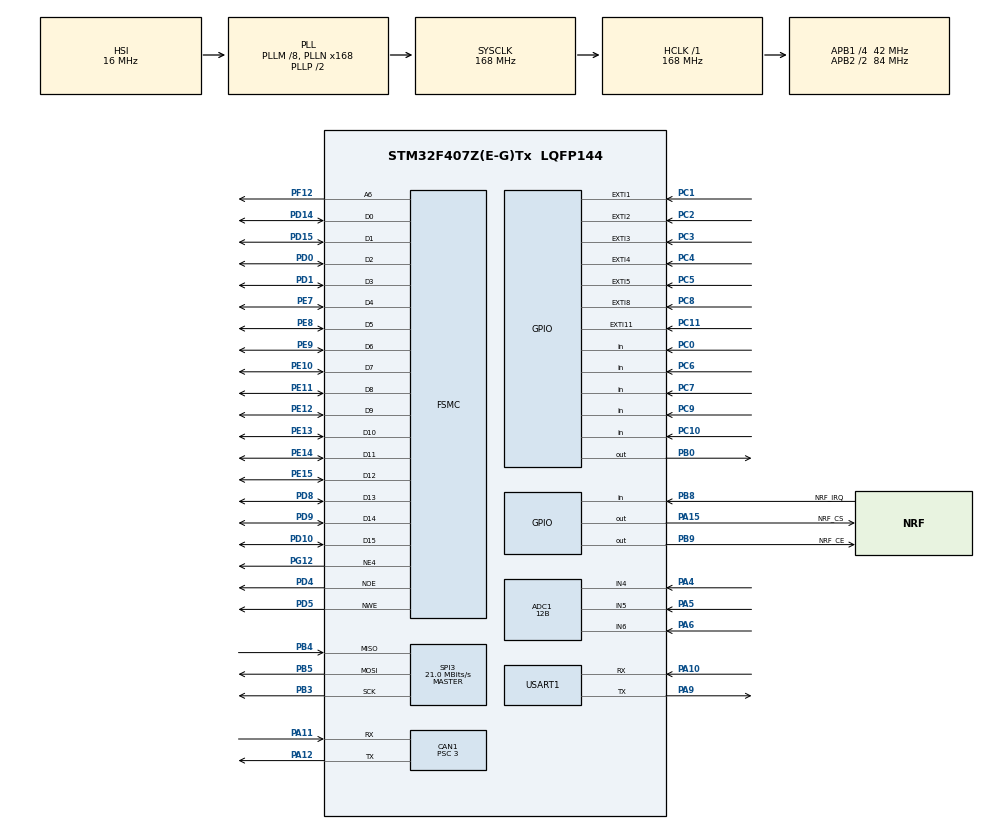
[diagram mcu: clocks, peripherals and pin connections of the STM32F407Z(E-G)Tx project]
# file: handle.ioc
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ADC1.Channel-4\#ChannelRegularConversion=ADC_CHANNEL_5
ADC1.Channel-5\#ChannelRegularConversion=ADC_CHANNEL_6
ADC1.Channel-6\#ChannelRegularConversion=ADC_CHANNEL_4
ADC1.ClockPrescaler=ADC_CLOCK_SYNC_PCLK_DIV4
ADC1.ContinuousConvMode=ENABLE
ADC1.DMAContinuousRequests=ENABLE
ADC1.DataAlign=ADC_DATAALIGN_RIGHT
ADC1.DiscontinuousConvMode=DISABLE
ADC1.EOCSelection=ADC_EOC_SINGLE_CONV
ADC1.EnableAnalogWatchDog=false
ADC1.ExternalTrigConv=ADC_SOFTWARE_START
ADC1.ExternalTrigConvEdge=ADC_EXTERNALTRIGCONVEDGE_NONE
ADC1.InjNumberOfConversion=0
ADC1.NbrOfConversion=3
ADC1.NbrOfConversionFlag=1
ADC1.Rank-4\#ChannelRegularConversion=1
ADC1.Rank-5\#ChannelRegularConversion=2
ADC1.Rank-6\#ChannelRegularConversion=3
ADC1.Resolution=ADC_RESOLUTION_12B
ADC1.SamplingTime-4\#ChannelRegularConversion=ADC_SAMPLETIME_3CYCLES
ADC1.SamplingTime-5\#ChannelRegularConversion=ADC_SAMPLETIME_3CYCLES
ADC1.SamplingTime-6\#ChannelRegularConversion=ADC_SAMPLETIME_3CYCLES
ADC1.ScanConvMode=ENABLE
ADC1.master=1
CAN1.ABOM=DISABLE
CAN1.AWUM=DISABLE
CAN1.BS1=CAN_BS1_9TQ
CAN1.BS2=CAN_BS2_4TQ
CAN1.CalculateTimeQuantum=71.42857142857143
CAN1.Mode=CAN_MODE_NORMAL
CAN1.NART=DISABLE
CAN1.Prescaler=3
CAN1.RFLM=DISABLE
CAN1.TTCM=DISABLE
CAN1.TXFP=DISABLE
Dma.ADC1.0.Direction=DMA_PERIPH_TO_MEMORY
Dma.ADC1.0.FIFOMode=DMA_FIFOMODE_DISABLE
Dma.ADC1.0.Instance=DMA2_Stream0
Dma.ADC1.0.MemDataAlignment=DMA_MDATAALIGN_WORD
Dma.ADC1.0.MemInc=DMA_MINC_ENABLE
Dma.ADC1.0.Mode=DMA_CIRCULAR
Dma.ADC1.0.PeriphDataAlignment=DMA_PDATAALIGN_WORD
Dma.ADC1.0.PeriphInc=DMA_PINC_DISABLE
Dma.ADC1.0.Priority=DMA_PRIORITY_HIGH
Dma.Request0=ADC1
Dma.Request1=USART1_RX
Dma.Request2=USART1_TX
Dma.USART1_RX.1.Direction=DMA_PERIPH_TO_MEMORY
Dma.USART1_RX.1.FIFOMode=DMA_FIFOMODE_DISABLE
Dma.USART1_RX.1.Instance=DMA2_Stream2
Dma.USART1_RX.1.MemDataAlignment=DMA_MDATAALIGN_BYTE
Dma.USART1_RX.1.MemInc=DMA_MINC_ENABLE
Dma.USART1_RX.1.Mode=DMA_NORMAL
Dma.USART1_RX.1.PeriphDataAlignment=DMA_PDATAALIGN_BYTE
Dma.USART1_RX.1.PeriphInc=DMA_PINC_DISABLE
Dma.USART1_RX.1.Priority=DMA_PRIORITY_LOW
Dma.USART1_TX.2.Direction=DMA_MEMORY_TO_PERIPH
Dma.USART1_TX.2.FIFOMode=DMA_FIFOMODE_DISABLE
Dma.USART1_TX.2.Instance=DMA2_Stream7
Dma.USART1_TX.2.MemDataAlignment=DMA_MDATAALIGN_BYTE
Dma.USART1_TX.2.MemInc=DMA_MINC_ENABLE
Dma.USART1_TX.2.Mode=DMA_NORMAL
Dma.USART1_TX.2.PeriphDataAlignment=DMA_PDATAALIGN_BYTE
Dma.USART1_TX.2.PeriphInc=DMA_PINC_DISABLE
Dma.USART1_TX.2.Priority=DMA_PRIORITY_LOW
Mcu.Family=STM32F4
Mcu.Name=STM32F407Z(E-G)Tx
Mcu.Package=LQFP144
NVIC.ADC_IRQn=true\:0\:0\:false\:false\:true\:true\:true
NVIC.CAN1_RX0_IRQn=true\:0\:0\:false\:false\:true\:true\:true
NVIC.CAN1_RX1_IRQn=true\:0\:0\:false\:false\:true\:true\:true
NVIC.CAN1_SCE_IRQn=true\:0\:0\:false\:false\:true\:true\:true
NVIC.DMA2_Stream0_IRQn=true\:0\:0\:false\:false\:true\:false\:true
NVIC.DMA2_Stream2_IRQn=true\:0\:0\:false\:false\:true\:false\:true
NVIC.DMA2_Stream7_IRQn=true\:0\:0\:false\:false\:true\:false\:true
NVIC.EXTI15_10_IRQn=true\:0\:0\:false\:false\:true\:true\:true
NVIC.EXTI1_IRQn=true\:0\:0\:false\:false\:true\:true\:true
NVIC.EXTI2_IRQn=true\:0\:0\:false\:false\:true\:true\:true
NVIC.EXTI3_IRQn=true\:0\:0\:false\:false\:true\:true\:true
NVIC.EXTI4_IRQn=true\:0\:0\:false\:false\:true\:true\:true
NVIC.EXTI9_5_IRQn=true\:0\:0\:false\:false\:true\:true\:true
NVIC.PriorityGroup=NVIC_PRIORITYGROUP_4
NVIC.USART1_IRQn=true\:0\:0\:false\:false\:true\:true\:true
PA10.Mode=Asynchronous
PA10.Signal=USART1_RX
PA11.Mode=Master
PA11.Signal=CAN1_RX
PA12.Mode=Master
PA12.Signal=CAN1_TX
PA13.Mode=Serial_Wire
PA13.Signal=SYS_JTMS-SWDIO
PA14.Mode=Serial_Wire
PA14.Signal=SYS_JTCK-SWCLK
PA15.GPIO_Label=NRF_CS
PA15.Signal=GPIO_Output
PA4.Signal=ADCx_IN4
PA5.Signal=ADCx_IN5
PA6.Signal=ADCx_IN6
PA9.Mode=Asynchronous
PA9.Signal=USART1_TX
PB0.Signal=GPIO_Output
PB3.Mode=Full_Duplex_Master
PB3.Signal=SPI3_SCK
PB4.Mode=Full_Duplex_Master
PB4.Signal=SPI3_MISO
PB5.Mode=Full_Duplex_Master
PB5.Signal=SPI3_MOSI
PB8.GPIO_Label=NRF_IRQ
PB8.Signal=GPIO_Input
PB9.GPIO_Label=NRF_CE
PB9.Signal=GPIO_Output
PC0.Signal=GPIO_Input
PC1.GPIO_ModeDefaultEXTI=GPIO_MODE_IT_FALLING
PC1.Signal=GPXTI1
PC10.Signal=GPIO_Input
PC11.GPIO_ModeDefaultEXTI=GPIO_MODE_IT_RISING_FALLING
PC11.Signal=GPXTI11
PC2.GPIO_ModeDefaultEXTI=GPIO_MODE_IT_FALLING
PC2.Signal=GPXTI2
PC3.GPIO_ModeDefaultEXTI=GPIO_MODE_IT_FALLING
PC3.Signal=GPXTI3
PC4.GPIO_ModeDefaultEXTI=GPIO_MODE_IT_FALLING
PC4.Signal=GPXTI4
PC5.GPIO_ModeDefaultEXTI=GPIO_MODE_IT_FALLING
PC5.Signal=GPXTI5
PC6.Signal=GPIO_Input
PC7.Signal=GPIO_Input
PC8.GPIO_ModeDefaultEXTI=GPIO_MODE_IT_FALLING
PC8.Signal=GPXTI8
PC9.Signal=GPIO_Input
PD0.Signal=FSMC_D2_DA2
PD1.Signal=FSMC_D3_DA3
PD10.Signal=FSMC_D15_DA15
PD14.Signal=FSMC_D0_DA0
PD15.Signal=FSMC_D1_DA1
PD4.Signal=FSMC_NOE
PD5.Signal=FSMC_NWE
PD8.Signal=FSMC_D13_DA13
PD9.Signal=FSMC_D14_DA14
PE10.Signal=FSMC_D7_DA7
PE11.Signal=FSMC_D8_DA8
PE12.Signal=FSMC_D9_DA9
PE13.Signal=FSMC_D10_DA10
PE14.Signal=FSMC_D11_DA11
PE15.Signal=FSMC_D12_DA12
PE7.Signal=FSMC_D4_DA4
PE8.Signal=FSMC_D5_DA5
PE9.Signal=FSMC_D6_DA6
PF12.Signal=FSMC_A6
PG12.Mode=NorPsramChipSelect4_1
PG12.Signal=FSMC_NE4
PH0-OSC_IN.Mode=HSE-External-Oscillator
PH0-OSC_IN.Signal=RCC_OSC_IN
PH1-OSC_OUT.Mode=HSE-External-Oscillator
PH1-OSC_OUT.Signal=RCC_OSC_OUT
ProjectManager.HeapSize=0x200
ProjectManager.StackSize=0x400
ProjectManager.TargetToolchain=EWARM V8
RCC.48MHZClocksFreq_Value=84000000
RCC.AHBFreq_Value=168000000
RCC.APB1CLKDivider=RCC_HCLK_DIV4
RCC.APB1Freq_Value=42000000
RCC.APB1TimFreq_Value=84000000
RCC.APB2CLKDivider=RCC_HCLK_DIV2
RCC.APB2Freq_Value=84000000
RCC.APB2TimFreq_Value=168000000
RCC.CortexFreq_Value=168000000
RCC.HCLKFreq_Value=168000000
RCC.HSE_VALUE=8000000
RCC.HSI_VALUE=16000000
RCC.LSE_VALUE=32768
RCC.PLLM=8
RCC.PLLN=168
RCC.SYSCLKFreq_VALUE=168000000
RCC.SYSCLKSource=RCC_SYSCLKSOURCE_PLLCLK
RCC.VCOOutputFreq_Value=336000000
SH.ADCx_IN4.0=ADC1_IN4,IN4
SH.ADCx_IN5.0=ADC1_IN5,IN5
SH.ADCx_IN6.0=ADC1_IN6,IN6
SH.FSMC_A6.0=FSMC_A6,A6_1
SH.FSMC_D0_DA0.0=FSMC_D0,16b-d1
SH.FSMC_D10_DA10.0=FSMC_D10,16b-d1
SH.FSMC_D11_DA11.0=FSMC_D11,16b-d1
SH.FSMC_D12_DA12.0=FSMC_D12,16b-d1
SH.FSMC_D13_DA13.0=FSMC_D13,16b-d1
SH.FSMC_D14_DA14.0=FSMC_D14,16b-d1
SH.FSMC_D15_DA15.0=FSMC_D15,16b-d1
SH.FSMC_D1_DA1.0=FSMC_D1,16b-d1
SH.FSMC_D2_DA2.0=FSMC_D2,16b-d1
SH.FSMC_D3_DA3.0=FSMC_D3,16b-d1
SH.FSMC_D4_DA4.0=FSMC_D4,16b-d1
SH.FSMC_D5_DA5.0=FSMC_D5,16b-d1
SH.FSMC_D6_DA6.0=FSMC_D6,16b-d1
SH.FSMC_D7_DA7.0=FSMC_D7,16b-d1
SH.FSMC_D8_DA8.0=FSMC_D8,16b-d1
SH.FSMC_D9_DA9.0=FSMC_D9,16b-d1
SH.FSMC_NOE.0=FSMC_NOE,Lcd1
SH.FSMC_NWE.0=FSMC_NWE,Lcd1
SPI3.BaudRatePrescaler=SPI_BAUDRATEPRESCALER_2
SPI3.CalculateBaudRate=21.0 MBits/s
SPI3.Direction=SPI_DIRECTION_2LINES
SPI3.Mode=SPI_MODE_MASTER
SPI3.VirtualType=VM_MASTER
USART1.VirtualMode=VM_ASYNC
board=custom

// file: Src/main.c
/* USER CODE BEGIN Header */
/**
******************************************************************************
* @file           : main.c
* @brief          : Main program body
******************************************************************************
* @attention
*
* <h2><center>&copy; Copyright (c) 2019 STMicroelectronics.
* All rights reserved.</center></h2>
*
* This software component is licensed by ST under BSD 3-Clause license,
* the "License"; You may not use this file except in compliance with the
* License. You may obtain a copy of the License at:
*                        opensource.org/licenses/BSD-3-Clause
*
******************************************************************************
*/
/* USER CODE END Header */

#include "main.h"
#include "adc.h"
#include "can.h"
#include "dma.h"
#include "spi.h"
#include "usart.h"
#include "gpio.h"
#include "fsmc.h"

/* USER CODE BEGIN Includes */
#include "adc_func.h"
#include "nrf24l01.h"
#include "nrf_comm.h"
#include "simplelib.h"
#include "ILI93xx.h"
#include "lcd_func.h"
/* USER CODE END Includes */

void SystemClock_Config(void);

/* USER CODE BEGIN 0 */
int system_time=0;
static uint16_t time_1ms_cnt = 0;
int time_5ms_flag;
int main_flag = 0;
int lcd_flag = 0;
/* USER CODE END 0 */

int main(void)
{

  /* MCU Configuration--------------------------------------------------------*/

  /* Reset of all peripherals, Initializes the Flash interface and the Systick. */
  HAL_Init();

  /* Configure the system clock */
  SystemClock_Config();

  /* Initialize all configured peripherals */
  MX_GPIO_Init();
  MX_DMA_Init();
  MX_USART1_UART_Init();
  MX_CAN1_Init();
  MX_ADC1_Init();
  MX_FSMC_Init();
  MX_SPI3_Init();
  /* USER CODE BEGIN 2 */

  simplelib_init(&huart1, &hcan1);

  uint8_t temp_addr[5] = {48,51,51,48,20};

  nrf_set_rx_addr(NRF_PIPE_0, temp_addr, 5);
  nrf_set_tx_addr(temp_addr, 5);
  nrf_init(NULL);

  TFT_LCD_Init();
  HAL_ADC_Start(&hadc1);
  HAL_ADC_Start_DMA(&hadc1,(uint32_t *)&adc_rocker_value,5);

    main_flag = 1;
  /* USER CODE END 2 */

  /* Infinite loop */
  while (1)
  {

    /* USER CODE BEGIN 3 */
    simplelib_run();
    nrf_main();
    if(lcd_flag==1)
    {
      lcd_flag = 0;
      handle_show_lcd();
    }
   adc_exe();
//   gpio_delayed_button();
   }
  /* USER CODE END 3 */
}

void SystemClock_Config(void)
{
  RCC_OscInitTypeDef RCC_OscInitStruct = {0};
  RCC_ClkInitTypeDef RCC_ClkInitStruct = {0};

  /** Configure the main internal regulator output voltage
  */
  __HAL_RCC_PWR_CLK_ENABLE();
  __HAL_PWR_VOLTAGESCALING_CONFIG(PWR_REGULATOR_VOLTAGE_SCALE1);
  /** Initializes the CPU, AHB and APB busses clocks
  */
  RCC_OscInitStruct.OscillatorType = RCC_OSCILLATORTYPE_HSI;
  RCC_OscInitStruct.HSIState = RCC_HSI_ON;
  RCC_OscInitStruct.HSICalibrationValue = RCC_HSICALIBRATION_DEFAULT;
  RCC_OscInitStruct.PLL.PLLState = RCC_PLL_ON;
  RCC_OscInitStruct.PLL.PLLSource = RCC_PLLSOURCE_HSI;
  RCC_OscInitStruct.PLL.PLLM = 8;
  RCC_OscInitStruct.PLL.PLLN = 168;
  RCC_OscInitStruct.PLL.PLLP = RCC_PLLP_DIV2;
  RCC_OscInitStruct.PLL.PLLQ = 4;
  if (HAL_RCC_OscConfig(&RCC_OscInitStruct) != HAL_OK)
  {
    Error_Handler();
  }
  /** Initializes the CPU, AHB and APB busses clocks
  */
  RCC_ClkInitStruct.ClockType = RCC_CLOCKTYPE_HCLK|RCC_CLOCKTYPE_SYSCLK
                              |RCC_CLOCKTYPE_PCLK1|RCC_CLOCKTYPE_PCLK2;
  RCC_ClkInitStruct.SYSCLKSource = RCC_SYSCLKSOURCE_PLLCLK;
  RCC_ClkInitStruct.AHBCLKDivider = RCC_SYSCLK_DIV1;
  RCC_ClkInitStruct.APB1CLKDivider = RCC_HCLK_DIV4;
  RCC_ClkInitStruct.APB2CLKDivider = RCC_HCLK_DIV2;

  if (HAL_RCC_ClockConfig(&RCC_ClkInitStruct, FLASH_LATENCY_5) != HAL_OK)
  {
    Error_Handler();
  }
}

/* USER CODE BEGIN 4 */
void inc() {
  time_1ms_cnt++;
  if(time_1ms_cnt%5==0)
  {
    time_5ms_flag=1;
  }
  if(time_1ms_cnt%10 == 0)
  {
    adc_flag = 1;
  }
  if(time_1ms_cnt % 500 == 0)
  {
    lcd_flag=1;
  }
  if(time_1ms_cnt % 1000 == 0)
  {
    system_time++;
  }

  if (time_1ms_cnt == 10000)
  {
    time_1ms_cnt = 0;
  }
}

void nrf_spi_receive_callback(uint8_t *data, int len)
{
    uint32_t can_id = *((uint32_t*)(data));
    can_msg *msg = (can_msg*)(data+4);

    if( msg->in[0]>=0 && msg->in[0]<=9 )
    {
      lcd_data[msg->in[0]]=msg->fl[1];
    }

}

/* USER CODE END 4 */

void Error_Handler(void)
{
}

/************************ (C) COPYRIGHT STMicroelectronics *****END OF FILE****/
